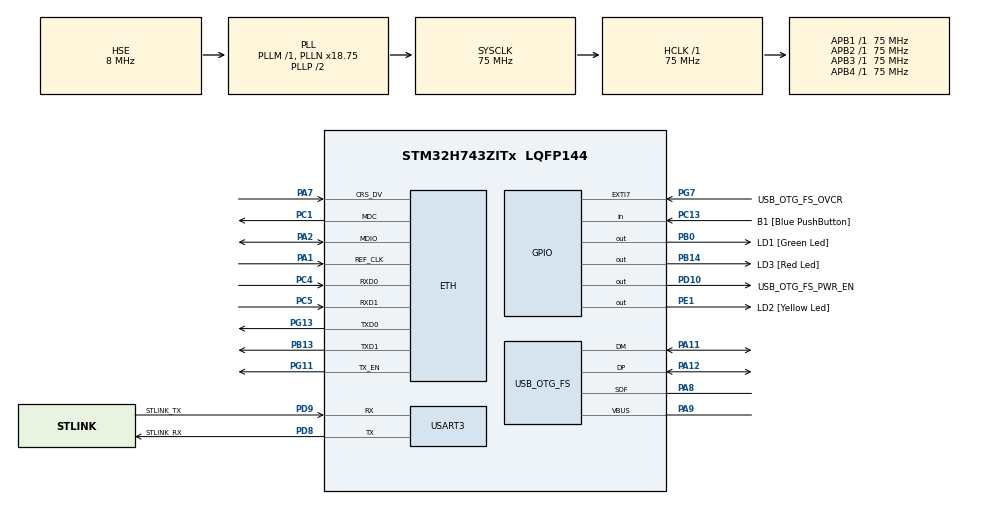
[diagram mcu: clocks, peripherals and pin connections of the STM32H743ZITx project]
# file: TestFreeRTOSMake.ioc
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ETH.MediaInterface=HAL_ETH_RMII_MODE
FREERTOS.Tasks01=defaultTask,24,128,StartDefaultTask,Default,NULL,Dynamic,NULL,NULL
Mcu.Family=STM32H7
Mcu.Name=STM32H743ZITx
Mcu.Package=LQFP144
NVIC.PriorityGroup=NVIC_PRIORITYGROUP_4
NVIC.TIM6_DAC_IRQn=true\:15\:0\:false\:false\:true\:false\:false\:true
NVIC.TimeBase=TIM6_DAC_IRQn
NVIC.TimeBaseIP=TIM6
PA1.Mode=RMII
PA1.Signal=ETH_REF_CLK
PA11.Mode=Device_Only
PA11.Signal=USB_OTG_FS_DM
PA12.Mode=Device_Only
PA12.Signal=USB_OTG_FS_DP
PA2.Mode=RMII
PA2.Signal=ETH_MDIO
PA7.Mode=RMII
PA7.Signal=ETH_CRS_DV
PA8.Mode=Activate_SOF_FS
PA8.Signal=USB_OTG_FS_SOF
PA9.Mode=Activate_VBUS
PA9.Signal=USB_OTG_FS_VBUS
PB0.GPIO_Label=LD1 [Green Led]
PB0.Signal=GPIO_Output
PB13.Mode=RMII
PB13.Signal=ETH_TXD1
PB14.GPIO_Label=LD3 [Red Led]
PB14.Signal=GPIO_Output
PC1.Mode=RMII
PC1.Signal=ETH_MDC
PC13.GPIO_Label=B1 [Blue PushButton]
PC13.Signal=GPIO_Input
PC14-OSC32_IN\ (OSC32_IN).Mode=LSE-External-Oscillator
PC14-OSC32_IN\ (OSC32_IN).Signal=RCC_OSC32_IN
PC15-OSC32_OUT\ (OSC32_OUT).Mode=LSE-External-Oscillator
PC15-OSC32_OUT\ (OSC32_OUT).Signal=RCC_OSC32_OUT
PC4.Mode=RMII
PC4.Signal=ETH_RXD0
PC5.Mode=RMII
PC5.Signal=ETH_RXD1
PD10.GPIO_Label=USB_OTG_FS_PWR_EN
PD10.Signal=GPIO_Output
PD8.GPIO_Label=STLINK_RX
PD8.Mode=Asynchronous
PD8.Signal=USART3_TX
PD9.GPIO_Label=STLINK_TX
PD9.Mode=Asynchronous
PD9.Signal=USART3_RX
PE1.GPIO_Label=LD2 [Yellow Led]
PE1.Signal=GPIO_Output
PG11.Mode=RMII
PG11.Signal=ETH_TX_EN
PG13.Mode=RMII
PG13.Signal=ETH_TXD0
PG7.GPIO_Label=USB_OTG_FS_OVCR
PG7.Signal=GPXTI7
PH0-OSC_IN\ (PH0).Mode=HSE-External-Clock-Source
PH0-OSC_IN\ (PH0).Signal=RCC_OSC_IN
PH1-OSC_OUT\ (PH1).Signal=RCC_OSC_OUT
ProjectManager.HeapSize=0x200
ProjectManager.StackSize=0x400
ProjectManager.TargetToolchain=Makefile
RCC.ADCFreq_Value=16125000
RCC.APB1Freq_Value=75000000
RCC.APB2Freq_Value=75000000
RCC.APB3Freq_Value=75000000
RCC.APB4Freq_Value=75000000
RCC.CortexFreq_Value=75000000
RCC.DIVM1=1
RCC.DIVN1=18
RCC.DIVQ1=3
RCC.HCLKFreq_Value=75000000
RCC.HSE_VALUE=8000000
RCC.PLLFRACN=6144
RCC.PWR_Regulator_Voltage_Scale=PWR_REGULATOR_VOLTAGE_SCALE2
RCC.SYSCLKFreq_VALUE=75000000
RCC.SYSCLKSource=RCC_SYSCLKSOURCE_PLLCLK
RCC.USBFreq_Value=50000000
USART3.VirtualMode-Asynchronous=VM_ASYNC
USB_OTG_FS.VirtualMode=Device_Only
VP_FREERTOS_VS_CMSIS_V2.Mode=CMSIS_V2
VP_SYS_VS_tim6.Mode=TIM6
board=NUCLEO-H743ZI2

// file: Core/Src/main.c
/* USER CODE BEGIN Header */
/**
  ******************************************************************************
  * @file           : main.c
  * @brief          : Main program body
  ******************************************************************************
  * @attention
  *
  * <h2><center>&copy; Copyright (c) 2021 STMicroelectronics.
  * All rights reserved.</center></h2>
  *
  * This software component is licensed by ST under Ultimate Liberty license
  * SLA0044, the "License"; You may not use this file except in compliance with
  * the License. You may obtain a copy of the License at:
  *                             www.st.com/SLA0044
  *
  ******************************************************************************
  */
/* USER CODE END Header */
#include "main.h"
#include "cmsis_os.h"
#include "eth.h"
#include "usart.h"
#include "usb_otg.h"
#include "gpio.h"

/* USER CODE BEGIN PV */
osThreadId_t Blink01Handle;
const osThreadAttr_t Blink01_attributes = {
  .name = "Blink01",
  .stack_size = 128 * 4,
  .priority = (osPriority_t) osPriorityNormal,
};
/* Definitions for Blink02 */
osThreadId_t Blink02Handle;
const osThreadAttr_t Blink02_attributes = {
  .name = "Blink02",
  .stack_size = 128 * 4,
  .priority = (osPriority_t) osPriorityLow,
};
/* Definitions for Blink03 */
osThreadId_t Blink03Handle;
const osThreadAttr_t Blink03_attributes = {
  .name = "Blink03",
  .stack_size = 128 * 4,
  .priority = (osPriority_t) osPriorityLow,
};
/* USER CODE END PV */

void SystemClock_Config(void);
void MX_FREERTOS_Init(void);
void StartTask01(void *argument);
void StartTask02(void *argument);
void StartTask03(void *argument);

int main(void)
{

  /* MCU Configuration--------------------------------------------------------*/

  /* Reset of all peripherals, Initializes the Flash interface and the Systick. */
  HAL_Init();

  /* Configure the system clock */
  SystemClock_Config();

  /* Initialize all configured peripherals */
  MX_GPIO_Init();
  MX_ETH_Init();
  MX_USART3_UART_Init();
  MX_USB_OTG_FS_PCD_Init();

  /* Init scheduler */
  osKernelInitialize();  /* Call init function for freertos objects (in freertos.c) */
  Blink01Handle = osThreadNew(StartTask01, NULL, &Blink01_attributes);

  /* creation of Blink02 */
  Blink02Handle = osThreadNew(StartTask02, NULL, &Blink02_attributes);

  /* creation of Blink03 */
  Blink03Handle = osThreadNew(StartTask03, NULL, &Blink03_attributes);
  MX_FREERTOS_Init();
  /* Start scheduler */
  osKernelStart();

  /* We should never get here as control is now taken by the scheduler */
  /* Infinite loop */
  while (1)
  {

  }
}

void SystemClock_Config(void)
{
  RCC_OscInitTypeDef RCC_OscInitStruct = {0};
  RCC_ClkInitTypeDef RCC_ClkInitStruct = {0};

  /** Supply configuration update enable
  */
  HAL_PWREx_ConfigSupply(PWR_LDO_SUPPLY);
  /** Configure the main internal regulator output voltage
  */
  __HAL_PWR_VOLTAGESCALING_CONFIG(PWR_REGULATOR_VOLTAGE_SCALE2);

  while(!__HAL_PWR_GET_FLAG(PWR_FLAG_VOSRDY)) {}
  /** Initializes the RCC Oscillators according to the specified parameters
  * in the RCC_OscInitTypeDef structure.
  */
  RCC_OscInitStruct.OscillatorType = RCC_OSCILLATORTYPE_HSE;
  RCC_OscInitStruct.HSEState = RCC_HSE_BYPASS;
  RCC_OscInitStruct.PLL.PLLState = RCC_PLL_ON;
  RCC_OscInitStruct.PLL.PLLSource = RCC_PLLSOURCE_HSE;
  RCC_OscInitStruct.PLL.PLLM = 1;
  RCC_OscInitStruct.PLL.PLLN = 18;
  RCC_OscInitStruct.PLL.PLLP = 2;
  RCC_OscInitStruct.PLL.PLLQ = 3;
  RCC_OscInitStruct.PLL.PLLR = 2;
  RCC_OscInitStruct.PLL.PLLRGE = RCC_PLL1VCIRANGE_3;
  RCC_OscInitStruct.PLL.PLLVCOSEL = RCC_PLL1VCOMEDIUM;
  RCC_OscInitStruct.PLL.PLLFRACN = 6144;
  if (HAL_RCC_OscConfig(&RCC_OscInitStruct) != HAL_OK)
  {
    Error_Handler();
  }
  /** Initializes the CPU, AHB and APB buses clocks
  */
  RCC_ClkInitStruct.ClockType = RCC_CLOCKTYPE_HCLK|RCC_CLOCKTYPE_SYSCLK
                              |RCC_CLOCKTYPE_PCLK1|RCC_CLOCKTYPE_PCLK2
                              |RCC_CLOCKTYPE_D3PCLK1|RCC_CLOCKTYPE_D1PCLK1;
  RCC_ClkInitStruct.SYSCLKSource = RCC_SYSCLKSOURCE_PLLCLK;
  RCC_ClkInitStruct.SYSCLKDivider = RCC_SYSCLK_DIV1;
  RCC_ClkInitStruct.AHBCLKDivider = RCC_HCLK_DIV1;
  RCC_ClkInitStruct.APB3CLKDivider = RCC_APB3_DIV1;
  RCC_ClkInitStruct.APB1CLKDivider = RCC_APB1_DIV1;
  RCC_ClkInitStruct.APB2CLKDivider = RCC_APB2_DIV1;
  RCC_ClkInitStruct.APB4CLKDivider = RCC_APB4_DIV1;

  if (HAL_RCC_ClockConfig(&RCC_ClkInitStruct, FLASH_LATENCY_1) != HAL_OK)
  {
    Error_Handler();
  }
}

/* USER CODE BEGIN 4 */
void StartTask01(void *argument)
{
  /* USER CODE BEGIN 5 */
  /* Infinite loop */
  for(;;)
  {
    HAL_GPIO_TogglePin(LD1_GPIO_Port, LD1_Pin);
    osDelay(100);
  }
  /* USER CODE END 5 */
}

/* USER CODE BEGIN Header_StartTask02 */
/**
* @brief Function implementing the Blink02 thread.
* @param argument: Not used
* @retval None
*/
/* USER CODE END Header_StartTask02 */
void StartTask02(void *argument)
{
  /* USER CODE BEGIN StartTask02 */
  /* Infinite loop */
  for(;;)
  {
    HAL_GPIO_TogglePin(LD2_GPIO_Port, LD2_Pin);
    osDelay(200);
  }
  /* USER CODE END StartTask02 */
}

/* USER CODE BEGIN Header_StartTask03 */
/**
* @brief Function implementing the Blink03 thread.
* @param argument: Not used
* @retval None
*/
/* USER CODE END Header_StartTask03 */
void StartTask03(void *argument)
{
  /* USER CODE BEGIN StartTask03 */
  /* Infinite loop */
  for(;;)
  {
    HAL_GPIO_TogglePin(LD3_GPIO_Port, LD3_Pin);
    osDelay(300);
  }
  /* USER CODE END StartTask03 */
}
/* USER CODE END 4 */

void HAL_TIM_PeriodElapsedCallback(TIM_HandleTypeDef *htim)
{
  if (htim->Instance == TIM6) {
    HAL_IncTick();
  }
}

void Error_Handler(void)
{
  __disable_irq();
  while (1)
  {
  }
}

/************************ (C) COPYRIGHT STMicroelectronics *****END OF FILE****/
